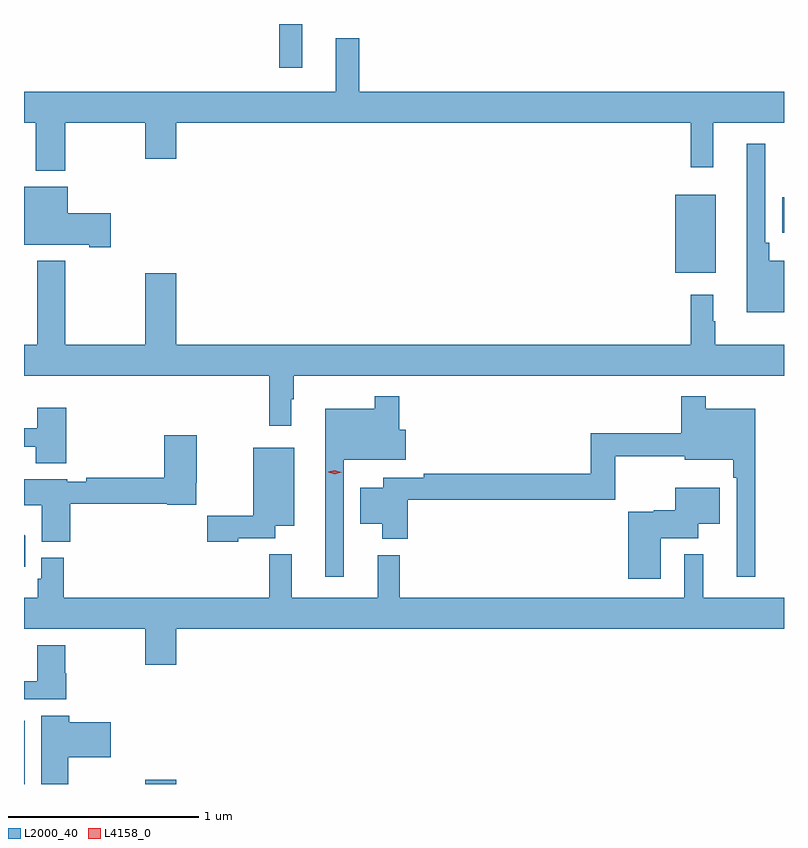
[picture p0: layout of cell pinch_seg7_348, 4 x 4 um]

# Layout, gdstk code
import gdstk
lib = gdstk.Library(unit=1e-6, precision=1e-09)
def R(c, l, rs):  # rectangles x0, y0, x1, y1
    for r in rs: c.add(gdstk.rectangle(r[:2], r[2:], *l))
def P(c, l, *ps):  # polygons
    for p in ps: c.add(gdstk.Polygon(p, *l))
L2000_40 = (2000, 40)
L4158_0 = (4158, 0)

pinch_seg7_348 = lib.new_cell('pinch_seg7_348')
R(pinch_seg7_348, L2000_40, [(428.107,1015.784,428.11,1016.116), (428.744,1015.784,428.908,1015.807), (431.534,1018.475,431.749,1018.885), (432.098,1018.685,432.107,1018.873), (429.45,1019.553,429.571,1019.784)])
P(pinch_seg7_348, L2000_40, [(428.107,1019.264),(428.17,1019.264),(428.17,1019.012),(428.325,1019.012),(428.325,1019.264),(428.744,1019.264),(428.744,1019.076),(428.908,1019.076),(428.908,1019.264),(431.617,1019.264),(431.617,1019.031),(431.735,1019.031),(431.735,1019.264),(432.107,1019.264),(432.107,1019.428),(429.871,1019.428),(429.871,1019.71),(429.749,1019.71),(429.749,1019.428),(428.107,1019.428)],
  [(432.107,1018.537),(432.029,1018.537),(432.029,1018.633),(432.009,1018.633),(432.009,1019.155),(431.912,1019.155),(431.912,1018.268),(432.107,1018.268)],
  [(428.563,1018.788),(428.338,1018.788),(428.338,1018.927),(428.107,1018.927),(428.107,1018.622),(428.45,1018.622),(428.45,1018.61),(428.563,1018.61)],
  [(429.514,1017.809),(429.526,1017.809),(429.526,1017.932),(432.107,1017.932),(432.107,1018.096),(431.746,1018.096),(431.746,1018.22),(431.734,1018.22),(431.734,1018.36),(431.617,1018.36),(431.617,1018.096),(428.908,1018.096),(428.908,1018.471),(428.744,1018.471),(428.744,1018.096),(428.325,1018.096),(428.325,1018.537),(428.177,1018.537),(428.177,1018.096),(428.107,1018.096),(428.107,1017.932),(429.397,1017.932),(429.397,1017.669),(429.514,1017.669)],
  [(431.956,1017.76),(431.695,1017.76),(431.695,1017.826),(431.566,1017.826),(431.566,1017.631),(431.089,1017.631),(431.089,1017.416),(430.21,1017.416),(430.21,1017.396),(429.998,1017.396),(429.998,1017.343),(429.878,1017.343),(429.878,1017.155),(429.992,1017.155),(429.992,1017.074),(430.127,1017.074),(430.127,1017.28),(431.218,1017.28),(431.218,1017.51),(431.585,1017.51),(431.585,1017.491),(431.839,1017.491),(431.839,1017.395),(431.859,1017.395),(431.859,1016.874),(431.956,1016.874)],
  [(429.789,1017.491),(430.117,1017.491),(430.117,1017.649),(430.082,1017.649),(430.082,1017.826),(429.954,1017.826),(429.954,1017.76),(429.692,1017.76),(429.692,1016.874),(429.789,1016.874)],
  [(428.33,1017.763),(428.177,1017.763),(428.177,1017.657),(428.107,1017.657),(428.107,1017.558),(428.17,1017.558),(428.17,1017.473),(428.33,1017.473)],
  [(428.351,1017.259),(428.862,1017.259),(428.862,1017.253),(429.014,1017.253),(429.014,1017.37),(429.016,1017.37),(429.016,1017.619),(428.846,1017.619),(428.846,1017.395),(428.434,1017.395),(428.434,1017.375),(428.334,1017.375),(428.334,1017.388),(428.107,1017.388),(428.107,1017.25),(428.201,1017.25),(428.201,1017.059),(428.351,1017.059)],
  [(429.234,1017.077),(429.43,1017.077),(429.43,1017.143),(429.529,1017.143),(429.529,1017.553),(429.314,1017.553),(429.314,1017.196),(429.072,1017.196),(429.072,1017.058),(429.234,1017.058)],
  [(431.458,1017.077),(431.656,1017.077),(431.656,1017.155),(431.77,1017.155),(431.77,1017.343),(431.534,1017.343),(431.534,1017.225),(431.421,1017.225),(431.421,1017.217),(431.288,1017.217),(431.288,1016.865),(431.458,1016.865)],
  [(428.114,1017.09),(428.107,1017.097),(428.107,1016.928),(428.114,1016.928)],
  [(428.908,1016.6),(432.107,1016.6),(432.107,1016.764),(431.681,1016.764),(431.681,1016.992),(431.583,1016.992),(431.583,1016.764),(430.085,1016.764),(430.085,1016.989),(429.968,1016.989),(429.968,1016.764),(429.515,1016.764),(429.515,1016.992),(429.397,1016.992),(429.397,1016.764),(428.315,1016.764),(428.315,1016.974),(428.199,1016.974),(428.199,1016.865),(428.179,1016.865),(428.179,1016.764),(428.107,1016.764),(428.107,1016.6),(428.744,1016.6),(428.744,1016.412),(428.908,1016.412)],
  [(428.33,1016.367),(428.325,1016.367),(428.325,1016.515),(428.177,1016.515),(428.177,1016.325),(428.107,1016.325),(428.107,1016.229),(428.33,1016.229)],
  [(428.34,1015.925),(428.563,1015.925),(428.563,1016.108),(428.345,1016.108),(428.345,1016.144),(428.198,1016.144),(428.198,1015.784),(428.34,1015.784)])
P(pinch_seg7_348, L4158_0, [(429.743,1017.415),(429.708,1017.426),(429.708,1017.427),(429.708,1017.427),(429.743,1017.435),(429.778,1017.424),(429.779,1017.424),(429.778,1017.424)])

lib.write_gds('pinch_seg7_348.gds')
